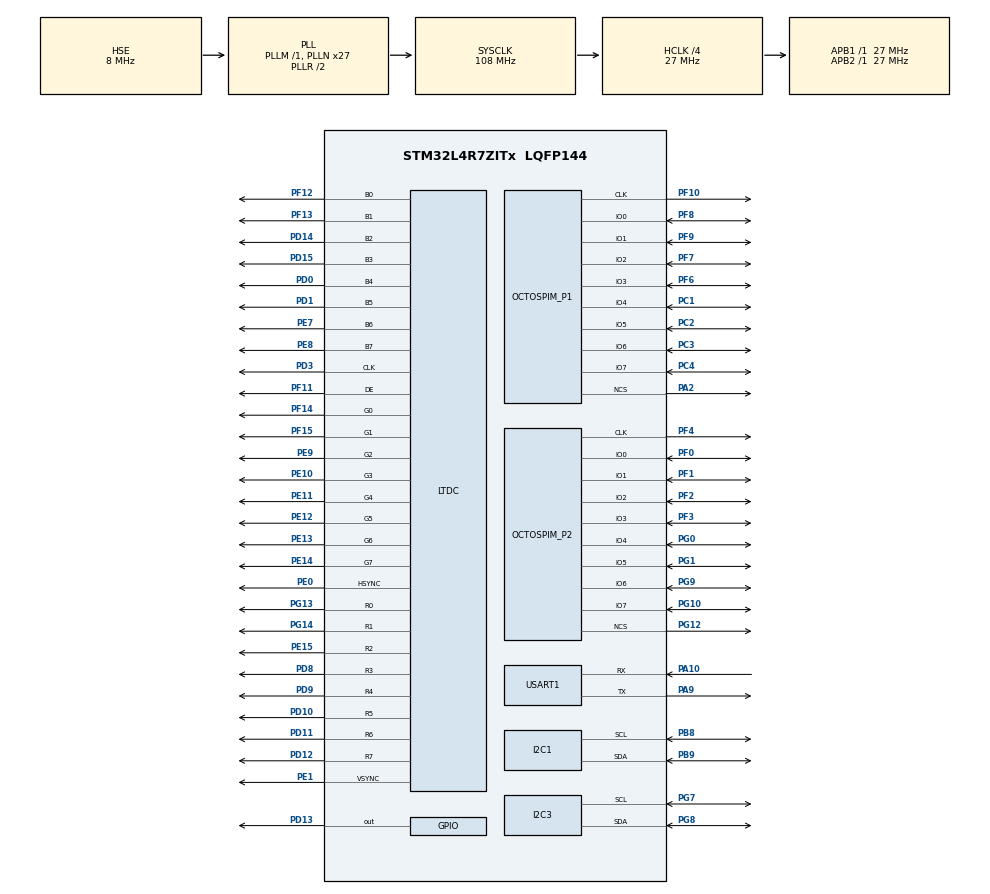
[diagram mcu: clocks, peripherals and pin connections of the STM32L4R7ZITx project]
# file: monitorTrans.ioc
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I2C1.Timing=0x00503D58
I2C3.Timing=0x00906997
LTDC.Alpha0_L0=255
LTDC.Alpha_L0=255
LTDC.BlendingFactor1_L0=LTDC_BLENDING_FACTOR1_PAxCA
LTDC.BlendingFactor2_L0=LTDC_BLENDING_FACTOR2_PAxCA
LTDC.Blue_L0=255
LTDC.ImageHeight_L0=600
LTDC.ImageWidth_L0=800
LTDC.Layers=0
LTDC.WindowX1_L0=800
LTDC.WindowY1_L0=600
Mcu.Family=STM32L4
Mcu.Name=STM32L4R7ZITx
Mcu.Package=LQFP144
NVIC.PriorityGroup=NVIC_PRIORITYGROUP_4
NVIC.TIM1_UP_TIM16_IRQn=true\:15\:0\:false\:false\:true\:false\:true\:true
NVIC.TimeBase=TIM1_UP_TIM16_IRQn
NVIC.TimeBaseIP=TIM16
PA10.Mode=Asynchronous
PA10.Signal=USART1_RX
PA13\ (JTMS/SWDIO).Mode=JTAG_5_pins
PA13\ (JTMS/SWDIO).Signal=SYS_JTMS-SWDIO
PA14\ (JTCK/SWCLK).Mode=JTAG_5_pins
PA14\ (JTCK/SWCLK).Signal=SYS_JTCK-SWCLK
PA15\ (JTDI).Mode=JTAG_5_pins
PA15\ (JTDI).Signal=SYS_JTDI
PA2.Mode=OCTOSPI1_Port1_NCS
PA2.Signal=OCTOSPIM_P1_NCS
PA9.Mode=Asynchronous
PA9.Signal=USART1_TX
PB3\ (JTDO/TRACESWO).Mode=JTAG_5_pins
PB3\ (JTDO/TRACESWO).Signal=SYS_JTDO-SWO
PB4\ (NJTRST).Mode=JTAG_5_pins
PB4\ (NJTRST).Signal=SYS_JTRST
PB8.Mode=I2C
PB8.Signal=I2C1_SCL
PB9.Mode=I2C
PB9.Signal=I2C1_SDA
PC1.Mode=OCTOSPI1_IOH_Port1H
PC1.Signal=OCTOSPIM_P1_IO4
PC2.Mode=OCTOSPI1_IOH_Port1H
PC2.Signal=OCTOSPIM_P1_IO5
PC3.Mode=OCTOSPI1_IOH_Port1H
PC3.Signal=OCTOSPIM_P1_IO6
PC4.Mode=OCTOSPI1_IOH_Port1H
PC4.Signal=OCTOSPIM_P1_IO7
PD0.Mode=RGB888
PD0.Signal=LTDC_B4
PD1.Mode=RGB888
PD1.Signal=LTDC_B5
PD10.Mode=RGB888
PD10.Signal=LTDC_R5
PD11.Mode=RGB888
PD11.Signal=LTDC_R6
PD12.Mode=RGB888
PD12.Signal=LTDC_R7
PD13.Signal=GPIO_Output
PD14.Mode=RGB888
PD14.Signal=LTDC_B2
PD15.Mode=RGB888
PD15.Signal=LTDC_B3
PD3.Mode=RGB888
PD3.Signal=LTDC_CLK
PD8.Mode=RGB888
PD8.Signal=LTDC_R3
PD9.Mode=RGB888
PD9.Signal=LTDC_R4
PE0.Mode=RGB888
PE0.Signal=LTDC_HSYNC
PE1.Mode=RGB888
PE1.Signal=LTDC_VSYNC
PE10.Mode=RGB888
PE10.Signal=LTDC_G3
PE11.Mode=RGB888
PE11.Signal=LTDC_G4
PE12.Mode=RGB888
PE12.Signal=LTDC_G5
PE13.Mode=RGB888
PE13.Signal=LTDC_G6
PE14.Mode=RGB888
PE14.Signal=LTDC_G7
PE15.Mode=RGB888
PE15.Signal=LTDC_R2
PE7.Mode=RGB888
PE7.Signal=LTDC_B6
PE8.Mode=RGB888
PE8.Signal=LTDC_B7
PE9.Mode=RGB888
PE9.Signal=LTDC_G2
PF0.Mode=OCTOSPI2_IOL_Port2L
PF0.Signal=OCTOSPIM_P2_IO0
PF1.Mode=OCTOSPI2_IOL_Port2L
PF1.Signal=OCTOSPIM_P2_IO1
PF10.Mode=O1_P1_CLK
PF10.Signal=OCTOSPIM_P1_CLK
PF11.Mode=RGB888
PF11.Signal=LTDC_DE
PF12.Mode=RGB888
PF12.Signal=LTDC_B0
PF13.Mode=RGB888
PF13.Signal=LTDC_B1
PF14.Mode=RGB888
PF14.Signal=LTDC_G0
PF15.Mode=RGB888
PF15.Signal=LTDC_G1
PF2.Mode=OCTOSPI2_IOL_Port2L
PF2.Signal=OCTOSPIM_P2_IO2
PF3.Mode=OCTOSPI2_IOL_Port2L
PF3.Signal=OCTOSPIM_P2_IO3
PF4.Mode=O2_P2_CLK
PF4.Signal=OCTOSPIM_P2_CLK
PF6.Mode=OCTOSPI1_IOL_Port1L
PF6.Signal=OCTOSPIM_P1_IO3
PF7.Mode=OCTOSPI1_IOL_Port1L
PF7.Signal=OCTOSPIM_P1_IO2
PF8.Mode=OCTOSPI1_IOL_Port1L
PF8.Signal=OCTOSPIM_P1_IO0
PF9.Mode=OCTOSPI1_IOL_Port1L
PF9.Signal=OCTOSPIM_P1_IO1
PG0.Mode=OCTOSPI2_IOH_Port2H
PG0.Signal=OCTOSPIM_P2_IO4
PG1.Mode=OCTOSPI2_IOH_Port2H
PG1.Signal=OCTOSPIM_P2_IO5
PG10.Mode=OCTOSPI2_IOH_Port2H
PG10.Signal=OCTOSPIM_P2_IO7
PG12.Mode=OCTOSPI2_Port2_NCS
PG12.Signal=OCTOSPIM_P2_NCS
PG13.Mode=RGB888
PG13.Signal=LTDC_R0
PG14.Mode=RGB888
PG14.Signal=LTDC_R1
PG7.Mode=I2C
PG7.Signal=I2C3_SCL
PG8.Mode=I2C
PG8.Signal=I2C3_SDA
PG9.Mode=OCTOSPI2_IOH_Port2H
PG9.Signal=OCTOSPIM_P2_IO6
PH0-OSC_IN\ (PH0).Mode=HSE-External-Oscillator
PH0-OSC_IN\ (PH0).Signal=RCC_OSC_IN
PH1-OSC_OUT\ (PH1).Mode=HSE-External-Oscillator
PH1-OSC_OUT\ (PH1).Signal=RCC_OSC_OUT
ProjectManager.HeapSize=0x200
ProjectManager.StackSize=0x400
ProjectManager.TargetToolchain=MDK-ARM V5.32
RCC.ADCFreq_Value=32000000
RCC.AHBCLKDivider=RCC_SYSCLK_DIV4
RCC.AHBFreq_Value=27000000
RCC.APB1Freq_Value=27000000
RCC.APB1TimFreq_Value=27000000
RCC.APB2Freq_Value=27000000
RCC.APB2TimFreq_Value=27000000
RCC.CortexFreq_Value=27000000
RCC.EnbaleCSS=true
RCC.HCLKFreq_Value=27000000
RCC.HSE_VALUE=8000000
RCC.HSI48_VALUE=48000000
RCC.HSI_VALUE=16000000
RCC.I2C1CLockSelection=RCC_I2C1CLKSOURCE_HSI
RCC.LSE_VALUE=32768
RCC.MSI_VALUE=4000000
RCC.PLLN=27
RCC.PLLSAI2N=16
RCC.PLLSourceVirtual=RCC_PLLSOURCE_HSE
RCC.SYSCLKFreq_VALUE=108000000
RCC.SYSCLKSource=RCC_SYSCLKSOURCE_PLLCLK
RCC.USBFreq_Value=32000000
RCC.VCOOutputFreq_Value=216000000
STMicroelectronics.X-CUBE-TOUCHGFX.4.25.0.ApplicationCcGraphicsJjApplication=TouchGFXOoGenerator
STMicroelectronics.X-CUBE-TOUCHGFX.4.25.0.tgfx_address2=0x29000000
STMicroelectronics.X-CUBE-TOUCHGFX.4.25.0.tgfx_buffering_strategy=Double
STMicroelectronics.X-CUBE-TOUCHGFX.4.25.0.tgfx_custom_height=600
STMicroelectronics.X-CUBE-TOUCHGFX.4.25.0.tgfx_display_interface=disp_ltdc
STMicroelectronics.X-CUBE-TOUCHGFX.4.25.0.tgfx_framebuffer_stride=Disabled
STMicroelectronics.X-CUBE-TOUCHGFX.4.25.0.tgfx_location=By Address
STMicroelectronics.X-CUBE-TOUCHGFX.4.25.0.tgfx_pixel_format=ARGB8888\:32
STMicroelectronics.X-CUBE-TOUCHGFX.4.25.0.tgfx_vsync=vsync_ltdc
STMicroelectronics.X-CUBE-TOUCHGFX.4.25.0_IsPackSelfContextualization=true
USART1.VirtualMode-Asynchronous=VM_ASYNC
VP_CRC_VS_CRC.Mode=CRC_Activate
VP_OCTOSPI1_VS_octo.Mode=dual_quad_mode
VP_OCTOSPI2_VS_octo.Mode=dual_quad_mode_mx
VP_STMicroelectronics.X-CUBE-TOUCHGFX_VS_GraphicsJjApplication_4.25.0.Mode=GraphicsJjApplication
VP_SYS_VS_DBSignals.Mode=DisableDeadBatterySignals
VP_SYS_VS_LPOM.Mode=PowerOptimisation
VP_SYS_VS_tim16.Mode=TIM16
board=custom

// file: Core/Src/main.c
/* USER CODE BEGIN Header */
/**
  ******************************************************************************
  * @file           : main.c
  * @brief          : Main program body
  ******************************************************************************
  * @attention
  *
  * Copyright (c) 2025 STMicroelectronics.
  * All rights reserved.
  *
  * This software is licensed under terms that can be found in the LICENSE file
  * in the root directory of this software component.
  * If no LICENSE file comes with this software, it is provided AS-IS.
  *
  ******************************************************************************
  */
/* USER CODE END Header */
#include "main.h"
#include "app_touchgfx.h"

/* USER CODE BEGIN Includes */
#include "string.h"
#include "stdio.h"
/* USER CODE END Includes */

CRC_HandleTypeDef hcrc;

I2C_HandleTypeDef hi2c1;
I2C_HandleTypeDef hi2c3;

LTDC_HandleTypeDef hltdc;

OSPI_HandleTypeDef hospi1;
OSPI_HandleTypeDef hospi2;

UART_HandleTypeDef huart1;

void SystemClock_Config(void);
static void MX_GPIO_Init(void);
static void MX_CRC_Init(void);
static void MX_I2C1_Init(void);
static void MX_LTDC_Init(void);
static void MX_OCTOSPI1_Init(void);
static void MX_OCTOSPI2_Init(void);
static void MX_I2C3_Init(void);
static void MX_USART1_UART_Init(void);
/* USER CODE BEGIN PFP */
HAL_StatusTypeDef ADV7342_Init(I2C_HandleTypeDef *hi2c);
/* USER CODE END PFP */

/* USER CODE BEGIN 0 */
	static const uint8_t ADV7342_I2C_ADDR = 0xD4 << 1;	// случай ALSB подключен к земле
	//static const uint8_t ADV7342_I2C_ADDR = 0xD6 << 1; // случай ALSB подключен к питанию
/* USER CODE END 0 */

int main(void)
{

  /* MCU Configuration--------------------------------------------------------*/

  /* Reset of all peripherals, Initializes the Flash interface and the Systick. */
  HAL_Init();

  /* Configure the system clock */
  SystemClock_Config();

  /* Initialize all configured peripherals */
  MX_GPIO_Init();
  MX_CRC_Init();
  MX_I2C1_Init();
  MX_LTDC_Init();
  MX_OCTOSPI1_Init();
  MX_OCTOSPI2_Init();
  MX_I2C3_Init();
  MX_USART1_UART_Init();
  //MX_TouchGFX_Init();
  /* USER CODE BEGIN 2 */
	if (ADV7342_Init(&hi2c1) != HAL_OK) { // Инициализация ADV
        Error_Handler();
	}
  /* USER CODE END 2 */

  /* Infinite loop */
  /* USER CODE BEGIN WHILE */
  while (1)
  {
		uint8_t reg_data;
    HAL_StatusTypeDef ret = HAL_I2C_Mem_Read(&hi2c1, ADV7342_I2C_ADDR, 0x00,
        I2C_MEMADD_SIZE_8BIT, &reg_data, 1, 10000);

    if(ret == HAL_OK) {
        char msg[50];
        sprintf(msg, "Reg 0x00: 0x%02X\r\n", reg_data);
        HAL_UART_Transmit(&huart1, (uint8_t*)msg, strlen(msg), 1000);
    }
    HAL_Delay(1000);
    /* USER CODE END WHILE */

 // MX_TouchGFX_Process();
  }
}

void SystemClock_Config(void)
{
  RCC_OscInitTypeDef RCC_OscInitStruct = {0};
  RCC_ClkInitTypeDef RCC_ClkInitStruct = {0};

  /** Configure the main internal regulator output voltage
  */
  if (HAL_PWREx_ControlVoltageScaling(PWR_REGULATOR_VOLTAGE_SCALE1) != HAL_OK)
  {
    Error_Handler();
  }

  /** Initializes the RCC Oscillators according to the specified parameters
  * in the RCC_OscInitTypeDef structure.
  */
  RCC_OscInitStruct.OscillatorType = RCC_OSCILLATORTYPE_HSE;
  RCC_OscInitStruct.HSEState = RCC_HSE_ON;
  RCC_OscInitStruct.PLL.PLLState = RCC_PLL_ON;
  RCC_OscInitStruct.PLL.PLLSource = RCC_PLLSOURCE_HSE;
  RCC_OscInitStruct.PLL.PLLM = 1;
  RCC_OscInitStruct.PLL.PLLN = 27;
  RCC_OscInitStruct.PLL.PLLP = RCC_PLLP_DIV2;
  RCC_OscInitStruct.PLL.PLLQ = RCC_PLLQ_DIV2;
  RCC_OscInitStruct.PLL.PLLR = RCC_PLLR_DIV2;
  if (HAL_RCC_OscConfig(&RCC_OscInitStruct) != HAL_OK)
  {
    Error_Handler();
  }

  /** Initializes the CPU, AHB and APB buses clocks
  */
  RCC_ClkInitStruct.ClockType = RCC_CLOCKTYPE_HCLK|RCC_CLOCKTYPE_SYSCLK
                              |RCC_CLOCKTYPE_PCLK1|RCC_CLOCKTYPE_PCLK2;
  RCC_ClkInitStruct.SYSCLKSource = RCC_SYSCLKSOURCE_PLLCLK;
  RCC_ClkInitStruct.AHBCLKDivider = RCC_SYSCLK_DIV4;
  RCC_ClkInitStruct.APB1CLKDivider = RCC_HCLK_DIV1;
  RCC_ClkInitStruct.APB2CLKDivider = RCC_HCLK_DIV1;

  if (HAL_RCC_ClockConfig(&RCC_ClkInitStruct, FLASH_LATENCY_1) != HAL_OK)
  {
    Error_Handler();
  }
}

static void MX_CRC_Init(void)
{

  hcrc.Instance = CRC;
  hcrc.Init.DefaultPolynomialUse = DEFAULT_POLYNOMIAL_ENABLE;
  hcrc.Init.DefaultInitValueUse = DEFAULT_INIT_VALUE_ENABLE;
  hcrc.Init.InputDataInversionMode = CRC_INPUTDATA_INVERSION_NONE;
  hcrc.Init.OutputDataInversionMode = CRC_OUTPUTDATA_INVERSION_DISABLE;
  hcrc.InputDataFormat = CRC_INPUTDATA_FORMAT_BYTES;
  if (HAL_CRC_Init(&hcrc) != HAL_OK)
  {
    Error_Handler();
  }

}

static void MX_I2C1_Init(void)
{

  hi2c1.Instance = I2C1;
  hi2c1.Init.Timing = 0x00906997;
  hi2c1.Init.OwnAddress1 = 0;
  hi2c1.Init.AddressingMode = I2C_ADDRESSINGMODE_7BIT;
  hi2c1.Init.DualAddressMode = I2C_DUALADDRESS_DISABLE;
  hi2c1.Init.OwnAddress2 = 0;
  hi2c1.Init.OwnAddress2Masks = I2C_OA2_NOMASK;
  hi2c1.Init.GeneralCallMode = I2C_GENERALCALL_DISABLE;
  hi2c1.Init.NoStretchMode = I2C_NOSTRETCH_DISABLE;
  if (HAL_I2C_Init(&hi2c1) != HAL_OK)
  {
    Error_Handler();
  }

  /** Configure Analogue filter
  */
  if (HAL_I2CEx_ConfigAnalogFilter(&hi2c1, I2C_ANALOGFILTER_ENABLE) != HAL_OK)
  {
    Error_Handler();
  }

  /** Configure Digital filter
  */
  if (HAL_I2CEx_ConfigDigitalFilter(&hi2c1, 0) != HAL_OK)
  {
    Error_Handler();
  }

}

static void MX_I2C3_Init(void)
{

  hi2c3.Instance = I2C3;
  hi2c3.Init.Timing = 0x00906997;
  hi2c3.Init.OwnAddress1 = 0;
  hi2c3.Init.AddressingMode = I2C_ADDRESSINGMODE_7BIT;
  hi2c3.Init.DualAddressMode = I2C_DUALADDRESS_DISABLE;
  hi2c3.Init.OwnAddress2 = 0;
  hi2c3.Init.OwnAddress2Masks = I2C_OA2_NOMASK;
  hi2c3.Init.GeneralCallMode = I2C_GENERALCALL_DISABLE;
  hi2c3.Init.NoStretchMode = I2C_NOSTRETCH_DISABLE;
  if (HAL_I2C_Init(&hi2c3) != HAL_OK)
  {
    Error_Handler();
  }

  /** Configure Analogue filter
  */
  if (HAL_I2CEx_ConfigAnalogFilter(&hi2c3, I2C_ANALOGFILTER_ENABLE) != HAL_OK)
  {
    Error_Handler();
  }

  /** Configure Digital filter
  */
  if (HAL_I2CEx_ConfigDigitalFilter(&hi2c3, 0) != HAL_OK)
  {
    Error_Handler();
  }

}

static void MX_LTDC_Init(void)
{

  LTDC_LayerCfgTypeDef pLayerCfg = {0};

  hltdc.Instance = LTDC;
  hltdc.Init.HSPolarity = LTDC_HSPOLARITY_AL;
  hltdc.Init.VSPolarity = LTDC_VSPOLARITY_AL;
  hltdc.Init.DEPolarity = LTDC_DEPOLARITY_AL;
  hltdc.Init.PCPolarity = LTDC_PCPOLARITY_IPC;
  hltdc.Init.HorizontalSync = 7;
  hltdc.Init.VerticalSync = 3;
  hltdc.Init.AccumulatedHBP = 14;
  hltdc.Init.AccumulatedVBP = 5;
  hltdc.Init.AccumulatedActiveW = 654;
  hltdc.Init.AccumulatedActiveH = 485;
  hltdc.Init.TotalWidth = 660;
  hltdc.Init.TotalHeigh = 487;
  hltdc.Init.Backcolor.Blue = 0;
  hltdc.Init.Backcolor.Green = 0;
  hltdc.Init.Backcolor.Red = 0;
  if (HAL_LTDC_Init(&hltdc) != HAL_OK)
  {
    Error_Handler();
  }
  pLayerCfg.WindowX0 = 0;
  pLayerCfg.WindowX1 = 800;
  pLayerCfg.WindowY0 = 0;
  pLayerCfg.WindowY1 = 600;
  pLayerCfg.PixelFormat = LTDC_PIXEL_FORMAT_ARGB8888;
  pLayerCfg.Alpha = 255;
  pLayerCfg.Alpha0 = 255;
  pLayerCfg.BlendingFactor1 = LTDC_BLENDING_FACTOR1_PAxCA;
  pLayerCfg.BlendingFactor2 = LTDC_BLENDING_FACTOR2_PAxCA;
  pLayerCfg.FBStartAdress = 0;
  pLayerCfg.ImageWidth = 800;
  pLayerCfg.ImageHeight = 600;
  pLayerCfg.Backcolor.Blue = 255;
  pLayerCfg.Backcolor.Green = 0;
  pLayerCfg.Backcolor.Red = 0;
  if (HAL_LTDC_ConfigLayer(&hltdc, &pLayerCfg, 0) != HAL_OK)
  {
    Error_Handler();
  }

}

static void MX_OCTOSPI1_Init(void)
{

  OSPIM_CfgTypeDef OSPIM_Cfg_Struct = {0};

  /* OCTOSPI1 parameter configuration*/
  hospi1.Instance = OCTOSPI1;
  hospi1.Init.FifoThreshold = 1;
  hospi1.Init.DualQuad = HAL_OSPI_DUALQUAD_ENABLE;
  hospi1.Init.MemoryType = HAL_OSPI_MEMTYPE_MICRON;
  hospi1.Init.DeviceSize = 32;
  hospi1.Init.ChipSelectHighTime = 1;
  hospi1.Init.FreeRunningClock = HAL_OSPI_FREERUNCLK_DISABLE;
  hospi1.Init.ClockMode = HAL_OSPI_CLOCK_MODE_0;
  hospi1.Init.ClockPrescaler = 1;
  hospi1.Init.SampleShifting = HAL_OSPI_SAMPLE_SHIFTING_NONE;
  hospi1.Init.DelayHoldQuarterCycle = HAL_OSPI_DHQC_DISABLE;
  hospi1.Init.ChipSelectBoundary = 0;
  hospi1.Init.DelayBlockBypass = HAL_OSPI_DELAY_BLOCK_BYPASSED;
  if (HAL_OSPI_Init(&hospi1) != HAL_OK)
  {
    Error_Handler();
  }
  OSPIM_Cfg_Struct.ClkPort = 1;
  OSPIM_Cfg_Struct.NCSPort = 1;
  OSPIM_Cfg_Struct.IOLowPort = HAL_OSPIM_IOPORT_1_LOW;
  OSPIM_Cfg_Struct.IOHighPort = HAL_OSPIM_IOPORT_1_HIGH;
  if (HAL_OSPIM_Config(&hospi1, &OSPIM_Cfg_Struct, HAL_OSPI_TIMEOUT_DEFAULT_VALUE) != HAL_OK)
  {
    Error_Handler();
  }

}

static void MX_OCTOSPI2_Init(void)
{

  OSPIM_CfgTypeDef OSPIM_Cfg_Struct = {0};

  /* OCTOSPI2 parameter configuration*/
  hospi2.Instance = OCTOSPI2;
  hospi2.Init.FifoThreshold = 1;
  hospi2.Init.DualQuad = HAL_OSPI_DUALQUAD_ENABLE;
  hospi2.Init.MemoryType = HAL_OSPI_MEMTYPE_MICRON;
  hospi2.Init.DeviceSize = 32;
  hospi2.Init.ChipSelectHighTime = 1;
  hospi2.Init.FreeRunningClock = HAL_OSPI_FREERUNCLK_DISABLE;
  hospi2.Init.ClockMode = HAL_OSPI_CLOCK_MODE_0;
  hospi2.Init.ClockPrescaler = 1;
  hospi2.Init.SampleShifting = HAL_OSPI_SAMPLE_SHIFTING_NONE;
  hospi2.Init.DelayHoldQuarterCycle = HAL_OSPI_DHQC_DISABLE;
  hospi2.Init.ChipSelectBoundary = 0;
  hospi2.Init.DelayBlockBypass = HAL_OSPI_DELAY_BLOCK_BYPASSED;
  if (HAL_OSPI_Init(&hospi2) != HAL_OK)
  {
    Error_Handler();
  }
  OSPIM_Cfg_Struct.ClkPort = 2;
  OSPIM_Cfg_Struct.NCSPort = 2;
  OSPIM_Cfg_Struct.IOLowPort = HAL_OSPIM_IOPORT_2_LOW;
  OSPIM_Cfg_Struct.IOHighPort = HAL_OSPIM_IOPORT_2_HIGH;
  if (HAL_OSPIM_Config(&hospi2, &OSPIM_Cfg_Struct, HAL_OSPI_TIMEOUT_DEFAULT_VALUE) != HAL_OK)
  {
    Error_Handler();
  }

}

static void MX_USART1_UART_Init(void)
{

  huart1.Instance = USART1;
  huart1.Init.BaudRate = 115200;
  huart1.Init.WordLength = UART_WORDLENGTH_8B;
  huart1.Init.StopBits = UART_STOPBITS_1;
  huart1.Init.Parity = UART_PARITY_NONE;
  huart1.Init.Mode = UART_MODE_TX_RX;
  huart1.Init.HwFlowCtl = UART_HWCONTROL_NONE;
  huart1.Init.OverSampling = UART_OVERSAMPLING_16;
  huart1.Init.OneBitSampling = UART_ONE_BIT_SAMPLE_DISABLE;
  huart1.Init.ClockPrescaler = UART_PRESCALER_DIV1;
  huart1.AdvancedInit.AdvFeatureInit = UART_ADVFEATURE_NO_INIT;
  if (HAL_UART_Init(&huart1) != HAL_OK)
  {
    Error_Handler();
  }
  if (HAL_UARTEx_SetTxFifoThreshold(&huart1, UART_TXFIFO_THRESHOLD_1_8) != HAL_OK)
  {
    Error_Handler();
  }
  if (HAL_UARTEx_SetRxFifoThreshold(&huart1, UART_RXFIFO_THRESHOLD_1_8) != HAL_OK)
  {
    Error_Handler();
  }
  if (HAL_UARTEx_DisableFifoMode(&huart1) != HAL_OK)
  {
    Error_Handler();
  }

}

static void MX_GPIO_Init(void)
{
  GPIO_InitTypeDef GPIO_InitStruct = {0};
/* USER CODE BEGIN MX_GPIO_Init_1 */
	/*Configure GPIO pins : PB8 (SCL) and PB9 (SDA) */
	GPIO_InitStruct.Pin = GPIO_PIN_8 | GPIO_PIN_9;
	GPIO_InitStruct.Mode = GPIO_MODE_AF_OD;
	GPIO_InitStruct.Pull = GPIO_PULLUP;
	GPIO_InitStruct.Speed = GPIO_SPEED_FREQ_HIGH;
	GPIO_InitStruct.Alternate = GPIO_AF4_I2C1;
	HAL_GPIO_Init(GPIOB, &GPIO_InitStruct);
/* USER CODE END MX_GPIO_Init_1 */

  /* GPIO Ports Clock Enable */
  __HAL_RCC_GPIOF_CLK_ENABLE();
  __HAL_RCC_GPIOH_CLK_ENABLE();
  __HAL_RCC_GPIOC_CLK_ENABLE();
  __HAL_RCC_GPIOA_CLK_ENABLE();
  __HAL_RCC_GPIOG_CLK_ENABLE();
  __HAL_RCC_GPIOE_CLK_ENABLE();
  __HAL_RCC_GPIOD_CLK_ENABLE();
  HAL_PWREx_EnableVddIO2();
  __HAL_RCC_GPIOB_CLK_ENABLE();

  /*Configure GPIO pin Output Level */
  HAL_GPIO_WritePin(GPIOD, GPIO_PIN_13, GPIO_PIN_RESET);

  /*Configure GPIO pin : PD13 */
  GPIO_InitStruct.Pin = GPIO_PIN_13;
  GPIO_InitStruct.Mode = GPIO_MODE_OUTPUT_PP;
  GPIO_InitStruct.Pull = GPIO_NOPULL;
  GPIO_InitStruct.Speed = GPIO_SPEED_FREQ_LOW;
  HAL_GPIO_Init(GPIOD, &GPIO_InitStruct);

}

/* USER CODE BEGIN 4 */
HAL_StatusTypeDef ADV7342_Init(I2C_HandleTypeDef *hi2c) {
    HAL_StatusTypeDef ret;
    uint8_t data[2];
    char msg[50];

		// Проверка готовности устройства
			uint32_t tickstart = HAL_GetTick();
		/*	while(HAL_I2C_IsDeviceReady(hi2c, ADV7342_I2C_ADDR, 10, 1000) != HAL_OK) {
					if((HAL_GetTick() - tickstart) > 1000) {
							HAL_UART_Transmit(&huart1, (uint8_t*)"Device not ready\r\n", 17, 100);
							return HAL_ERROR;
					}
			}
		HAL_Delay(10);
*/
    // 1. Включение всех DAC и PLL (Power Mode Register 0x00)
    data[0] = 0x00;   // Subaddress
    data[1] = 0x00;   // Все DAC включены, PLL включен
    ret = HAL_I2C_Mem_Write(hi2c, ADV7342_I2C_ADDR, 0x00, I2C_MEMADD_SIZE_8BIT, data, 2, 10000);
    if(ret != HAL_OK) {
        sprintf(msg, "Power Mode error: %d\r\n", ret);
        HAL_UART_Transmit(&huart1, (uint8_t*)msg, strlen(msg), 100);
        return ret;
    }
		HAL_Delay(10);

    // 2. Настройка RGB вывода (Mode Register 0x02)
    data[0] = 0x00;   // RGB output, sync disabled
    ret = HAL_I2C_Mem_Write(hi2c, ADV7342_I2C_ADDR, 0x02, I2C_MEMADD_SIZE_8BIT, data, 1, 10000);
    if(ret != HAL_OK) {
        sprintf(msg, "RGB Mode error: %d\r\n", ret);
        HAL_UART_Transmit(&huart1, (uint8_t*)msg, strlen(msg), 100);
        return ret;
    }
		HAL_Delay(10);

    // 3. Включение тестового паттерна (ED/HD Mode Register 2, 0x31)
    data[0] = 0x04;   // Bit 2 = 1 (Test Pattern Enable)
    ret = HAL_I2C_Mem_Write(hi2c, ADV7342_I2C_ADDR, 0x31, I2C_MEMADD_SIZE_8BIT, data, 1, 10000);
    if(ret != HAL_OK) {
        sprintf(msg, "Test Pattern error: %d\r\n", ret);
        HAL_UART_Transmit(&huart1, (uint8_t*)msg, strlen(msg), 100);
        return ret;
    }
		HAL_Delay(10);

    // 4. Настройка цвета тестового паттерна (RGB 100% цветные полосы)
    // Y Level Register 0x36 (Luma)
    data[0] = 0xEB;   // 235 (100% белый)
    HAL_I2C_Mem_Write(hi2c, ADV7342_I2C_ADDR, 0x36, I2C_MEMADD_SIZE_8BIT, data, 1, 100);

    // Cr Level Register 0x37 (Red)
    data[0] = 0xF0;   // 240 (макс. красный)
    HAL_I2C_Mem_Write(hi2c, ADV7342_I2C_ADDR, 0x37, I2C_MEMADD_SIZE_8BIT, data, 1, 100);

    // Cb Level Register 0x38 (Blue)
    data[0] = 0x6E;   // 110 (макс. синий)
    HAL_I2C_Mem_Write(hi2c, ADV7342_I2C_ADDR, 0x38, I2C_MEMADD_SIZE_8BIT, data, 1, 100);
		HAL_Delay(10);

    // 5. Дополнительные настройки для RGB
    // Включение RGB input (ED/HD Mode Register 6, 0x35)
    data[0] = 0x02;   // Bit 1 = 1 (RGB Input Enable)
    HAL_I2C_Mem_Write(hi2c, ADV7342_I2C_ADDR, 0x35, I2C_MEMADD_SIZE_8BIT, data, 1, 100);

    return HAL_OK;
}
/* USER CODE END 4 */

void HAL_TIM_PeriodElapsedCallback(TIM_HandleTypeDef *htim)
{
  if (htim->Instance == TIM16) {
    HAL_IncTick();
  }
}

void Error_Handler(void)
{
  __disable_irq();
  while (1)
  {
  }
}
